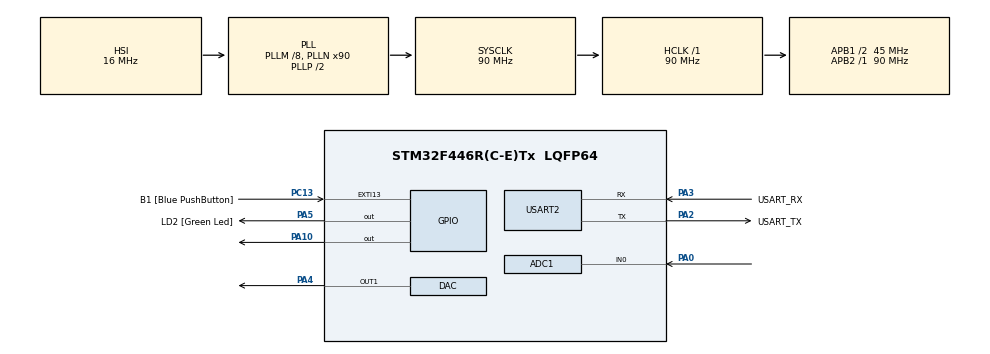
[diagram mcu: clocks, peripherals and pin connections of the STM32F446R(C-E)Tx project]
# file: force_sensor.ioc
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ADC1.Channel-0\#ChannelRegularConversion=ADC_CHANNEL_0
ADC1.InjNumberOfConversion=0
ADC1.NbrOfConversionFlag=1
ADC1.Rank-0\#ChannelRegularConversion=1
ADC1.SamplingTime-0\#ChannelRegularConversion=ADC_SAMPLETIME_3CYCLES
ADC1.master=1
Dma.Request0=USART2_TX
Dma.USART2_TX.0.Direction=DMA_MEMORY_TO_PERIPH
Dma.USART2_TX.0.FIFOMode=DMA_FIFOMODE_DISABLE
Dma.USART2_TX.0.Instance=DMA1_Stream6
Dma.USART2_TX.0.MemDataAlignment=DMA_MDATAALIGN_BYTE
Dma.USART2_TX.0.MemInc=DMA_MINC_ENABLE
Dma.USART2_TX.0.Mode=DMA_NORMAL
Dma.USART2_TX.0.PeriphDataAlignment=DMA_PDATAALIGN_BYTE
Dma.USART2_TX.0.PeriphInc=DMA_PINC_DISABLE
Dma.USART2_TX.0.Priority=DMA_PRIORITY_LOW
Mcu.Family=STM32F4
Mcu.Name=STM32F446R(C-E)Tx
Mcu.Package=LQFP64
NVIC.DMA1_Stream6_IRQn=true\:0\:0\:false\:false\:true\:false\:true\:true
NVIC.PriorityGroup=NVIC_PRIORITYGROUP_0
PA0-WKUP.Signal=ADCx_IN0
PA10.Signal=GPIO_Output
PA13.GPIO_Label=TMS
PA13.Mode=Serial_Wire
PA13.Signal=SYS_JTMS-SWDIO
PA14.GPIO_Label=TCK
PA14.Mode=Serial_Wire
PA14.Signal=SYS_JTCK-SWCLK
PA2.GPIO_Label=USART_TX
PA2.Mode=Asynchronous
PA2.Signal=USART2_TX
PA3.GPIO_Label=USART_RX
PA3.Mode=Asynchronous
PA3.Signal=USART2_RX
PA4.Signal=COMP_DAC1_group
PA5.GPIO_Label=LD2 [Green Led]
PA5.Signal=GPIO_Output
PB3.GPIO_Label=SWO
PB3.Signal=SYS_JTDO-SWO
PC13.GPIO_Label=B1 [Blue PushButton]
PC13.GPIO_ModeDefaultEXTI=GPIO_MODE_IT_FALLING
PC13.Signal=GPXTI13
PC14-OSC32_IN.Mode=LSE-External-Oscillator
PC14-OSC32_IN.Signal=RCC_OSC32_IN
PC15-OSC32_OUT.Mode=LSE-External-Oscillator
PC15-OSC32_OUT.Signal=RCC_OSC32_OUT
PH0-OSC_IN.Mode=HSE-External-Oscillator
PH0-OSC_IN.Signal=RCC_OSC_IN
PH1-OSC_OUT.Mode=HSE-External-Oscillator
PH1-OSC_OUT.Signal=RCC_OSC_OUT
ProjectManager.HeapSize=0x200
ProjectManager.StackSize=0x400
ProjectManager.TargetToolchain=CMake
RCC.48MHZClocksFreq_Value=84000000
RCC.AHBFreq_Value=90000000
RCC.APB1CLKDivider=RCC_HCLK_DIV2
RCC.APB1Freq_Value=45000000
RCC.APB1TimFreq_Value=90000000
RCC.APB2Freq_Value=90000000
RCC.APB2TimFreq_Value=90000000
RCC.CortexFreq_Value=90000000
RCC.FLatency-AdvancedSettings=FLASH_LATENCY_2
RCC.HCLKFreq_Value=90000000
RCC.HSE_VALUE=8000000
RCC.HSI_VALUE=16000000
RCC.PLLM=8
RCC.PLLN=90
RCC.SYSCLKFreq_VALUE=90000000
RCC.SYSCLKSource=RCC_SYSCLKSOURCE_PLLCLK
RCC.USBFreq_Value=90000000
RCC.VCOOutputFreq_Value=180000000
SH.ADCx_IN0.0=ADC1_IN0,IN0
SH.COMP_DAC1_group.0=DAC_OUT1,DAC_OUT1
USART2.VirtualMode=VM_ASYNC
board=NUCLEO-F446RE

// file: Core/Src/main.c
/* USER CODE BEGIN Header */
/**
  ******************************************************************************
  * @file           : main.c
  * @brief          : Main program body
  ******************************************************************************
  * @attention
  *
  * Copyright (c) 2024 STMicroelectronics.
  * All rights reserved.
  *
  * This software is licensed under terms that can be found in the LICENSE file
  * in the root directory of this software component.
  * If no LICENSE file comes with this software, it is provided AS-IS.
  *
  ******************************************************************************
  */
/* USER CODE END Header */
#include "main.h"

/* USER CODE BEGIN Includes */
#include <stdio.h>
#include <string.h>
/* USER CODE END Includes */

/* USER CODE BEGIN PM */
#define resolution    4095.0
#define reference_0V7 868
#define adc_vref      3.6
/* USER CODE END PM */

ADC_HandleTypeDef hadc1;

DAC_HandleTypeDef hdac;

UART_HandleTypeDef huart2;
DMA_HandleTypeDef hdma_usart2_tx;

void SystemClock_Config(void);
static void MX_GPIO_Init(void);
static void MX_DMA_Init(void);
static void MX_USART2_UART_Init(void);
static void MX_ADC1_Init(void);
static void MX_DAC_Init(void);
/* USER CODE BEGIN PFP */
void DMATransferComplete(DMA_HandleTypeDef *hdma);
/* USER CODE END PFP */

int main(void)
{

  /* MCU Configuration--------------------------------------------------------*/

  /* Reset of all peripherals, Initializes the Flash interface and the Systick. */
  HAL_Init();

  /* Configure the system clock */
  SystemClock_Config();

  /* Initialize all configured peripherals */
  MX_GPIO_Init();
  MX_DMA_Init();
  MX_USART2_UART_Init();
  MX_ADC1_Init();
  MX_DAC_Init();
  /* USER CODE BEGIN 2 */
  uint16_t data = 0;
  char msg[10];

  GPIO_InitTypeDef GPIOA10;
  GPIOA10.Pin = GPIO_PIN_10;
  GPIOA10.Mode = GPIO_MODE_OUTPUT_PP;
  GPIOA10.Pull = GPIO_NOPULL;
  HAL_GPIO_Init(GPIOA, &GPIOA10);
  HAL_GPIO_WritePin(GPIOA, GPIO_PIN_10, GPIO_PIN_SET);

  //HAL_DMA_RegisterCallback(&hdma_usart2_tx, HAL_DMA_XFER_CPLT_CB_ID, &DMATransferComplete);

  HAL_DAC_SetValue(&hdac, DAC_CHANNEL_1, DAC_ALIGN_12B_R, 2277);
  HAL_DAC_Start(&hdac, DAC_CHANNEL_1);

  /* USER CODE END 2 */

  /* Infinite loop */
  /* USER CODE BEGIN WHILE */
  while (1)
  {
    HAL_ADC_Start(&hadc1);
    HAL_ADC_PollForConversion(&hadc1, HAL_MAX_DELAY);
    data = HAL_ADC_GetValue(&hadc1);
    sprintf(msg, "%hu\r\n", data);
    //HAL_DMA_Start_IT(&hdma_usart2_tx, (uint32_t)msg, (uint32_t)&huart2.Instance->DR, strlen(msg));
    HAL_UART_Transmit(&huart2, (uint8_t*)msg, strlen(msg), HAL_MAX_DELAY);
    HAL_GPIO_TogglePin(GPIOA, GPIO_PIN_10);
    /* USER CODE END WHILE */

  }
}

void SystemClock_Config(void)
{
  RCC_OscInitTypeDef RCC_OscInitStruct = {0};
  RCC_ClkInitTypeDef RCC_ClkInitStruct = {0};

  /** Configure the main internal regulator output voltage
  */
  __HAL_RCC_PWR_CLK_ENABLE();
  __HAL_PWR_VOLTAGESCALING_CONFIG(PWR_REGULATOR_VOLTAGE_SCALE3);

  /** Initializes the RCC Oscillators according to the specified parameters
  * in the RCC_OscInitTypeDef structure.
  */
  RCC_OscInitStruct.OscillatorType = RCC_OSCILLATORTYPE_HSI;
  RCC_OscInitStruct.HSIState = RCC_HSI_ON;
  RCC_OscInitStruct.HSICalibrationValue = RCC_HSICALIBRATION_DEFAULT;
  RCC_OscInitStruct.PLL.PLLState = RCC_PLL_ON;
  RCC_OscInitStruct.PLL.PLLSource = RCC_PLLSOURCE_HSI;
  RCC_OscInitStruct.PLL.PLLM = 8;
  RCC_OscInitStruct.PLL.PLLN = 90;
  RCC_OscInitStruct.PLL.PLLP = RCC_PLLP_DIV2;
  RCC_OscInitStruct.PLL.PLLQ = 2;
  RCC_OscInitStruct.PLL.PLLR = 2;
  if (HAL_RCC_OscConfig(&RCC_OscInitStruct) != HAL_OK)
  {
    Error_Handler();
  }

  /** Initializes the CPU, AHB and APB buses clocks
  */
  RCC_ClkInitStruct.ClockType = RCC_CLOCKTYPE_HCLK|RCC_CLOCKTYPE_SYSCLK
                              |RCC_CLOCKTYPE_PCLK1|RCC_CLOCKTYPE_PCLK2;
  RCC_ClkInitStruct.SYSCLKSource = RCC_SYSCLKSOURCE_PLLCLK;
  RCC_ClkInitStruct.AHBCLKDivider = RCC_SYSCLK_DIV1;
  RCC_ClkInitStruct.APB1CLKDivider = RCC_HCLK_DIV2;
  RCC_ClkInitStruct.APB2CLKDivider = RCC_HCLK_DIV1;

  if (HAL_RCC_ClockConfig(&RCC_ClkInitStruct, FLASH_LATENCY_2) != HAL_OK)
  {
    Error_Handler();
  }
}

static void MX_ADC1_Init(void)
{

  ADC_ChannelConfTypeDef sConfig = {0};

  /** Configure the global features of the ADC (Clock, Resolution, Data Alignment and number of conversion)
  */
  hadc1.Instance = ADC1;
  hadc1.Init.ClockPrescaler = ADC_CLOCK_SYNC_PCLK_DIV4;
  hadc1.Init.Resolution = ADC_RESOLUTION_12B;
  hadc1.Init.ScanConvMode = DISABLE;
  hadc1.Init.ContinuousConvMode = DISABLE;
  hadc1.Init.DiscontinuousConvMode = DISABLE;
  hadc1.Init.ExternalTrigConvEdge = ADC_EXTERNALTRIGCONVEDGE_NONE;
  hadc1.Init.ExternalTrigConv = ADC_SOFTWARE_START;
  hadc1.Init.DataAlign = ADC_DATAALIGN_RIGHT;
  hadc1.Init.NbrOfConversion = 1;
  hadc1.Init.DMAContinuousRequests = DISABLE;
  hadc1.Init.EOCSelection = ADC_EOC_SINGLE_CONV;
  if (HAL_ADC_Init(&hadc1) != HAL_OK)
  {
    Error_Handler();
  }

  /** Configure for the selected ADC regular channel its corresponding rank in the sequencer and its sample time.
  */
  sConfig.Channel = ADC_CHANNEL_0;
  sConfig.Rank = 1;
  sConfig.SamplingTime = ADC_SAMPLETIME_3CYCLES;
  if (HAL_ADC_ConfigChannel(&hadc1, &sConfig) != HAL_OK)
  {
    Error_Handler();
  }

}

static void MX_DAC_Init(void)
{

  DAC_ChannelConfTypeDef sConfig = {0};

  /** DAC Initialization
  */
  hdac.Instance = DAC;
  if (HAL_DAC_Init(&hdac) != HAL_OK)
  {
    Error_Handler();
  }

  /** DAC channel OUT1 config
  */
  sConfig.DAC_Trigger = DAC_TRIGGER_NONE;
  sConfig.DAC_OutputBuffer = DAC_OUTPUTBUFFER_ENABLE;
  if (HAL_DAC_ConfigChannel(&hdac, &sConfig, DAC_CHANNEL_1) != HAL_OK)
  {
    Error_Handler();
  }

}

static void MX_USART2_UART_Init(void)
{

  huart2.Instance = USART2;
  huart2.Init.BaudRate = 115200;
  huart2.Init.WordLength = UART_WORDLENGTH_8B;
  huart2.Init.StopBits = UART_STOPBITS_1;
  huart2.Init.Parity = UART_PARITY_NONE;
  huart2.Init.Mode = UART_MODE_TX_RX;
  huart2.Init.HwFlowCtl = UART_HWCONTROL_NONE;
  huart2.Init.OverSampling = UART_OVERSAMPLING_16;
  if (HAL_UART_Init(&huart2) != HAL_OK)
  {
    Error_Handler();
  }

}

static void MX_DMA_Init(void)
{

  /* DMA controller clock enable */
  __HAL_RCC_DMA1_CLK_ENABLE();

  /* DMA interrupt init */
  /* DMA1_Stream6_IRQn interrupt configuration */
  HAL_NVIC_SetPriority(DMA1_Stream6_IRQn, 0, 0);
  HAL_NVIC_EnableIRQ(DMA1_Stream6_IRQn);

}

static void MX_GPIO_Init(void)
{
  GPIO_InitTypeDef GPIO_InitStruct = {0};

  /* GPIO Ports Clock Enable */
  __HAL_RCC_GPIOC_CLK_ENABLE();
  __HAL_RCC_GPIOH_CLK_ENABLE();
  __HAL_RCC_GPIOA_CLK_ENABLE();
  __HAL_RCC_GPIOB_CLK_ENABLE();

  /*Configure GPIO pin Output Level */
  HAL_GPIO_WritePin(GPIOA, LD2_Pin|GPIO_PIN_10, GPIO_PIN_RESET);

  /*Configure GPIO pin : B1_Pin */
  GPIO_InitStruct.Pin = B1_Pin;
  GPIO_InitStruct.Mode = GPIO_MODE_IT_FALLING;
  GPIO_InitStruct.Pull = GPIO_NOPULL;
  HAL_GPIO_Init(B1_GPIO_Port, &GPIO_InitStruct);

  /*Configure GPIO pins : LD2_Pin PA10 */
  GPIO_InitStruct.Pin = LD2_Pin|GPIO_PIN_10;
  GPIO_InitStruct.Mode = GPIO_MODE_OUTPUT_PP;
  GPIO_InitStruct.Pull = GPIO_NOPULL;
  GPIO_InitStruct.Speed = GPIO_SPEED_FREQ_LOW;
  HAL_GPIO_Init(GPIOA, &GPIO_InitStruct);

}

/* USER CODE BEGIN 4 */

void DMATransferComplete(DMA_HandleTypeDef *hdma) {

  // Disable UART DMA mode
  huart2.Instance->CR3 &= ~USART_CR3_DMAT;

  // Toggle LD2
  HAL_GPIO_TogglePin(GPIOA, GPIO_PIN_10);
}

/* USER CODE END 4 */

void Error_Handler(void)
{
  __disable_irq();
  while (1)
  {
  }
}
